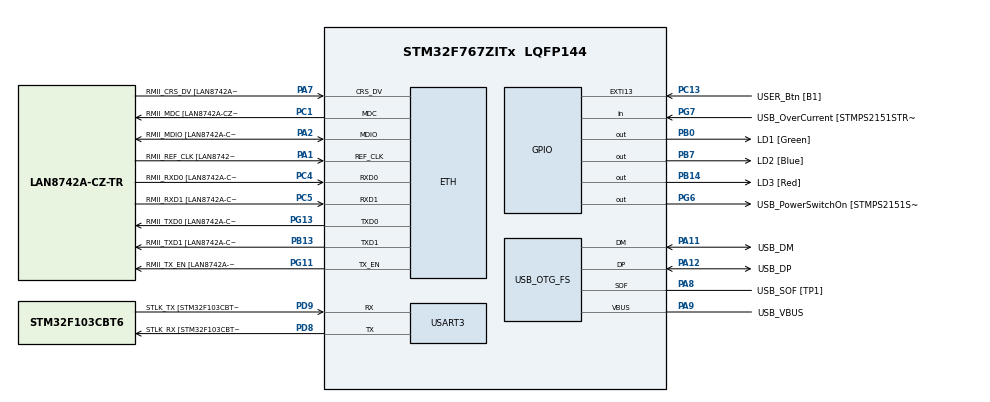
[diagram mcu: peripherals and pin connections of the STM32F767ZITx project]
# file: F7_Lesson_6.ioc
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ETH.MediaInterface=HAL_ETH_RMII_MODE
ETH.PHY_Name=LAN8742A_PHY_ADDRESS
ETH.PHY_Value=0
ETH.PhyAddress=0
Mcu.Family=STM32F7
Mcu.Name=STM32F767ZITx
Mcu.Package=LQFP144
NVIC.PriorityGroup=NVIC_PRIORITYGROUP_4
PA1.GPIO_Label=RMII_REF_CLK [LAN8742A-CZ-TR_REFCLK0]
PA1.Mode=RMII
PA1.Signal=ETH_REF_CLK
PA10.GPIO_Label=USB_ID
PA10.Signal=USB_OTG_FS_ID
PA11.GPIO_Label=USB_DM
PA11.Mode=Device_Only
PA11.Signal=USB_OTG_FS_DM
PA12.GPIO_Label=USB_DP
PA12.Mode=Device_Only
PA12.Signal=USB_OTG_FS_DP
PA13.GPIO_Label=TMS
PA13.Mode=Serial_Wire
PA13.Signal=SYS_JTMS-SWDIO
PA14.GPIO_Label=TCK
PA14.Mode=Serial_Wire
PA14.Signal=SYS_JTCK-SWCLK
PA2.GPIO_Label=RMII_MDIO [LAN8742A-CZ-TR_MDIO]
PA2.Mode=RMII
PA2.Signal=ETH_MDIO
PA7.GPIO_Label=RMII_CRS_DV [LAN8742A-CZ-TR_CRS_DV]
PA7.Mode=RMII
PA7.Signal=ETH_CRS_DV
PA8.GPIO_Label=USB_SOF [TP1]
PA8.Mode=Activate_SOF_FS
PA8.Signal=USB_OTG_FS_SOF
PA9.GPIO_Label=USB_VBUS
PA9.Mode=Activate_VBUS
PA9.Signal=USB_OTG_FS_VBUS
PB0.GPIO_Label=LD1 [Green]
PB0.Signal=GPIO_Output
PB13.GPIO_Label=RMII_TXD1 [LAN8742A-CZ-TR_TXD1]
PB13.Mode=RMII
PB13.Signal=ETH_TXD1
PB14.GPIO_Label=LD3 [Red]
PB14.Signal=GPIO_Output
PB3.GPIO_Label=SWO
PB3.Signal=SYS_JTDO-SWO
PB7.GPIO_Label=LD2 [Blue]
PB7.Signal=GPIO_Output
PC1.GPIO_Label=RMII_MDC [LAN8742A-CZ-TR_MDC]
PC1.Mode=RMII
PC1.Signal=ETH_MDC
PC13.GPIO_Label=USER_Btn [B1]
PC13.Signal=GPXTI13
PC14/OSC32_IN.Mode=LSE-External-Oscillator
PC14/OSC32_IN.Signal=RCC_OSC32_IN
PC15/OSC32_OUT.Mode=LSE-External-Oscillator
PC15/OSC32_OUT.Signal=RCC_OSC32_OUT
PC4.GPIO_Label=RMII_RXD0 [LAN8742A-CZ-TR_RXD0]
PC4.Mode=RMII
PC4.Signal=ETH_RXD0
PC5.GPIO_Label=RMII_RXD1 [LAN8742A-CZ-TR_RXD1]
PC5.Mode=RMII
PC5.Signal=ETH_RXD1
PD8.GPIO_Label=STLK_RX [STM32F103CBT6_PA3]
PD8.Mode=Asynchronous
PD8.Signal=USART3_TX
PD9.GPIO_Label=STLK_TX [STM32F103CBT6_PA2]
PD9.Mode=Asynchronous
PD9.Signal=USART3_RX
PG11.GPIO_Label=RMII_TX_EN [LAN8742A-CZ-TR_TXEN]
PG11.Mode=RMII
PG11.Signal=ETH_TX_EN
PG13.GPIO_Label=RMII_TXD0 [LAN8742A-CZ-TR_TXD0]
PG13.Mode=RMII
PG13.Signal=ETH_TXD0
PG6.GPIO_Label=USB_PowerSwitchOn [STMPS2151STR_EN]
PG6.Signal=GPIO_Output
PG7.GPIO_Label=USB_OverCurrent [STMPS2151STR_FAULT]
PG7.Signal=GPIO_Input
PH0/OSC_IN.GPIO_Label=MCO [STM32F103CBT6_PA8]
PH0/OSC_IN.Mode=HSE-External-Clock-Source
PH0/OSC_IN.Signal=RCC_OSC_IN
PH1/OSC_OUT.Mode=HSE-External-Clock-Source
PH1/OSC_OUT.Signal=RCC_OSC_OUT
ProjectManager.HeapSize=0x200
ProjectManager.StackSize=0x400
ProjectManager.TargetToolchain=STM32CubeIDE
RCC.48MHZClocksFreq_Value=24000000
RCC.AHBFreq_Value=96000000
RCC.APB1CLKDivider=RCC_HCLK_DIV2
RCC.APB1Freq_Value=48000000
RCC.APB1TimFreq_Value=96000000
RCC.APB2Freq_Value=96000000
RCC.APB2TimFreq_Value=96000000
RCC.CortexFreq_Value=96000000
RCC.HCLKFreq_Value=96000000
RCC.HSE_VALUE=8000000
RCC.HSI_VALUE=16000000
RCC.PLLM=4
RCC.PLLMUL=RCC_PLL_MUL9
RCC.PLLN=96
RCC.PLLQ=4
RCC.PRESCALERUSB=RCC_USBCLKSOURCE_PLL_DIV1_5
RCC.SYSCLKFreq_VALUE=96000000
RCC.SYSCLKSource=RCC_SYSCLKSOURCE_PLLCLK
RCC.SYSCLKSourceVirtual=RCC_SYSCLKSOURCE_PLLCLK
RCC.USBFreq_Value=48000000
RCC.VCOOutputFreq_Value=192000000
USART3.VirtualMode-Asynchronous=VM_ASYNC
USB_OTG_FS.VirtualMode=Device_Only
board=NUCLEO-F767ZI

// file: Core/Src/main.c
/* USER CODE BEGIN Header */
/**
  ******************************************************************************
  * @file           : main.c
  * @brief          : Main program body
  ******************************************************************************
  * @attention
  *
  * Copyright (c) 2025 STMicroelectronics.
  * All rights reserved.
  *
  * This software is licensed under terms that can be found in the LICENSE file
  * in the root directory of this software component.
  * If no LICENSE file comes with this software, it is provided AS-IS.
  *
  ******************************************************************************
  */
/* USER CODE END Header */
#include "main.h"
#include "string.h"

/* USER CODE BEGIN PD */

#define MY_GPIOB_BASE 0x40020400U
#define MY_GPIOB_ODR (*((unsigned int*)(MY_GPIOB_BASE + 0x14U)))
#define MY_GPIOB_BSRR (*((unsigned int*)(MY_GPIOB_BASE + 0x18U)))
#define MY_LED_BLUE (1U << 7)
#define MY_LED_RED (1U << 14)

/* USER CODE END PD */

#if defined ( __ICCARM__ ) /*!< IAR Compiler */
#pragma location=0x2007c000
ETH_DMADescTypeDef  DMARxDscrTab[ETH_RX_DESC_CNT]; /* Ethernet Rx DMA Descriptors */
#pragma location=0x2007c0a0
ETH_DMADescTypeDef  DMATxDscrTab[ETH_TX_DESC_CNT]; /* Ethernet Tx DMA Descriptors */

#elif defined ( __CC_ARM )  /* MDK ARM Compiler */

__attribute__((at(0x2007c000))) ETH_DMADescTypeDef  DMARxDscrTab[ETH_RX_DESC_CNT]; /* Ethernet Rx DMA Descriptors */
__attribute__((at(0x2007c0a0))) ETH_DMADescTypeDef  DMATxDscrTab[ETH_TX_DESC_CNT]; /* Ethernet Tx DMA Descriptors */

#elif defined ( __GNUC__ ) /* GNU Compiler */

ETH_DMADescTypeDef DMARxDscrTab[ETH_RX_DESC_CNT] __attribute__((section(".RxDecripSection"))); /* Ethernet Rx DMA Descriptors */
ETH_DMADescTypeDef DMATxDscrTab[ETH_TX_DESC_CNT] __attribute__((section(".TxDecripSection")));   /* Ethernet Tx DMA Descriptors */
#endif

ETH_TxPacketConfig TxConfig;

ETH_HandleTypeDef heth;

PCD_HandleTypeDef hpcd_USB_OTG_FS;

void SystemClock_Config(void);
static void MX_GPIO_Init(void);
static void MX_ETH_Init(void);
static void MX_USART3_UART_Init(void);
static void MX_USB_OTG_FS_PCD_Init(void);

int main(void)
{

  /* MCU Configuration--------------------------------------------------------*/

  /* Reset of all peripherals, Initializes the Flash interface and the Systick. */
  HAL_Init();

  /* Configure the system clock */
  SystemClock_Config();

  /* Initialize all configured peripherals */
  MX_GPIO_Init();
  MX_ETH_Init();
  MX_USART3_UART_Init();
  MX_USB_OTG_FS_PCD_Init();

  /* Infinite loop */
  /* USER CODE BEGIN WHILE */

  unsigned int a = 0x5A5A5A5AU;
  unsigned int b = 0xDEADBEEFU;
  unsigned int c;

  c = a | b; // OR
  c = a & b; // AND
  c = a ^ b; // exclusive OR
  c = ~b; // NOT
  c = b >> 1; // right-shift
  c = b << 3; // left-shift

  int x = 1024;
  int y = -1024;
  int z;

  z = x >> 3;
  z = y >> 3;

  MY_GPIOB_ODR = MY_LED_BLUE; // turn the blue led on

  /*
   * Prevents the compiler from applying
   * optimize most (-O3) to counter
   */
  int volatile counter = 0;

  while (1) {

      /*
       * Turn the red led on
       * without modifying the state of the modify the blue led
       */
      MY_GPIOB_ODR |= MY_LED_RED;

      counter = 0;
      while (counter < 1000000) {
          ++counter;
      }

      /*
       * Turn the red led off
       * without modifying the state of the modify the blue led
       */

      MY_GPIOB_ODR &= ~MY_LED_RED;

      counter = 0;
      while (counter < 1000000) {
          ++counter;
      }

  }

  while (1)
  {

    /* USER CODE END WHILE */

  }
}

void SystemClock_Config(void)
{
  LL_FLASH_SetLatency(LL_FLASH_LATENCY_3);
  while(LL_FLASH_GetLatency()!= LL_FLASH_LATENCY_3)
  {
  }
  LL_PWR_SetRegulVoltageScaling(LL_PWR_REGU_VOLTAGE_SCALE3);
  LL_PWR_EnableOverDriveMode();
  LL_RCC_HSE_EnableBypass();
  LL_RCC_HSE_Enable();

   /* Wait till HSE is ready */
  while(LL_RCC_HSE_IsReady() != 1)
  {

  }
  LL_RCC_PLL_ConfigDomain_SYS(LL_RCC_PLLSOURCE_HSE, LL_RCC_PLLM_DIV_4, 96, LL_RCC_PLLP_DIV_2);
  LL_RCC_PLL_ConfigDomain_48M(LL_RCC_PLLSOURCE_HSE, LL_RCC_PLLM_DIV_4, 96, LL_RCC_PLLQ_DIV_4);
  LL_RCC_PLL_Enable();

   /* Wait till PLL is ready */
  while(LL_RCC_PLL_IsReady() != 1)
  {

  }
  while (LL_PWR_IsActiveFlag_VOS() == 0)
  {
  }
  LL_RCC_SetAHBPrescaler(LL_RCC_SYSCLK_DIV_1);
  LL_RCC_SetAPB1Prescaler(LL_RCC_APB1_DIV_2);
  LL_RCC_SetAPB2Prescaler(LL_RCC_APB2_DIV_1);
  LL_RCC_SetSysClkSource(LL_RCC_SYS_CLKSOURCE_PLL);

   /* Wait till System clock is ready */
  while(LL_RCC_GetSysClkSource() != LL_RCC_SYS_CLKSOURCE_STATUS_PLL)
  {

  }
  LL_SetSystemCoreClock(96000000);

   /* Update the time base */
  if (HAL_InitTick (TICK_INT_PRIORITY) != HAL_OK)
  {
    Error_Handler();
  }

   /* Set Timers Clock Prescalers */
  LL_RCC_SetTIMPrescaler(LL_RCC_TIM_PRESCALER_TWICE);
}

static void MX_ETH_Init(void)
{

   static uint8_t MACAddr[6];

  heth.Instance = ETH;
  MACAddr[0] = 0x00;
  MACAddr[1] = 0x80;
  MACAddr[2] = 0xE1;
  MACAddr[3] = 0x00;
  MACAddr[4] = 0x00;
  MACAddr[5] = 0x00;
  heth.Init.MACAddr = &MACAddr[0];
  heth.Init.MediaInterface = HAL_ETH_RMII_MODE;
  heth.Init.TxDesc = DMATxDscrTab;
  heth.Init.RxDesc = DMARxDscrTab;
  heth.Init.RxBuffLen = 1524;

  if (HAL_ETH_Init(&heth) != HAL_OK)
  {
    Error_Handler();
  }

  memset(&TxConfig, 0 , sizeof(ETH_TxPacketConfig));
  TxConfig.Attributes = ETH_TX_PACKETS_FEATURES_CSUM | ETH_TX_PACKETS_FEATURES_CRCPAD;
  TxConfig.ChecksumCtrl = ETH_CHECKSUM_IPHDR_PAYLOAD_INSERT_PHDR_CALC;
  TxConfig.CRCPadCtrl = ETH_CRC_PAD_INSERT;

}

static void MX_USART3_UART_Init(void)
{

  LL_USART_InitTypeDef USART_InitStruct = {0};

  LL_GPIO_InitTypeDef GPIO_InitStruct = {0};

  LL_RCC_SetUSARTClockSource(LL_RCC_USART3_CLKSOURCE_PCLK1);

  /* Peripheral clock enable */
  LL_APB1_GRP1_EnableClock(LL_APB1_GRP1_PERIPH_USART3);

  LL_AHB1_GRP1_EnableClock(LL_AHB1_GRP1_PERIPH_GPIOD);
  /**USART3 GPIO Configuration
  PD8   ------> USART3_TX
  PD9   ------> USART3_RX
  */
  GPIO_InitStruct.Pin = STLK_RX_Pin;
  GPIO_InitStruct.Mode = LL_GPIO_MODE_ALTERNATE;
  GPIO_InitStruct.Speed = LL_GPIO_SPEED_FREQ_VERY_HIGH;
  GPIO_InitStruct.OutputType = LL_GPIO_OUTPUT_PUSHPULL;
  GPIO_InitStruct.Pull = LL_GPIO_PULL_NO;
  GPIO_InitStruct.Alternate = LL_GPIO_AF_7;
  LL_GPIO_Init(STLK_RX_GPIO_Port, &GPIO_InitStruct);

  GPIO_InitStruct.Pin = STLK_TX_Pin;
  GPIO_InitStruct.Mode = LL_GPIO_MODE_ALTERNATE;
  GPIO_InitStruct.Speed = LL_GPIO_SPEED_FREQ_VERY_HIGH;
  GPIO_InitStruct.OutputType = LL_GPIO_OUTPUT_PUSHPULL;
  GPIO_InitStruct.Pull = LL_GPIO_PULL_NO;
  GPIO_InitStruct.Alternate = LL_GPIO_AF_7;
  LL_GPIO_Init(STLK_TX_GPIO_Port, &GPIO_InitStruct);

  USART_InitStruct.BaudRate = 115200;
  USART_InitStruct.DataWidth = LL_USART_DATAWIDTH_8B;
  USART_InitStruct.StopBits = LL_USART_STOPBITS_1;
  USART_InitStruct.Parity = LL_USART_PARITY_NONE;
  USART_InitStruct.TransferDirection = LL_USART_DIRECTION_TX_RX;
  USART_InitStruct.HardwareFlowControl = LL_USART_HWCONTROL_NONE;
  USART_InitStruct.OverSampling = LL_USART_OVERSAMPLING_16;
  LL_USART_Init(USART3, &USART_InitStruct);
  LL_USART_ConfigAsyncMode(USART3);
  LL_USART_Enable(USART3);

}

static void MX_USB_OTG_FS_PCD_Init(void)
{

  hpcd_USB_OTG_FS.Instance = USB_OTG_FS;
  hpcd_USB_OTG_FS.Init.dev_endpoints = 6;
  hpcd_USB_OTG_FS.Init.speed = PCD_SPEED_FULL;
  hpcd_USB_OTG_FS.Init.dma_enable = DISABLE;
  hpcd_USB_OTG_FS.Init.phy_itface = PCD_PHY_EMBEDDED;
  hpcd_USB_OTG_FS.Init.Sof_enable = ENABLE;
  hpcd_USB_OTG_FS.Init.low_power_enable = DISABLE;
  hpcd_USB_OTG_FS.Init.lpm_enable = DISABLE;
  hpcd_USB_OTG_FS.Init.vbus_sensing_enable = ENABLE;
  hpcd_USB_OTG_FS.Init.use_dedicated_ep1 = DISABLE;
  if (HAL_PCD_Init(&hpcd_USB_OTG_FS) != HAL_OK)
  {
    Error_Handler();
  }

}

static void MX_GPIO_Init(void)
{
  LL_EXTI_InitTypeDef EXTI_InitStruct = {0};
  LL_GPIO_InitTypeDef GPIO_InitStruct = {0};

  /* GPIO Ports Clock Enable */
  LL_AHB1_GRP1_EnableClock(LL_AHB1_GRP1_PERIPH_GPIOC);
  LL_AHB1_GRP1_EnableClock(LL_AHB1_GRP1_PERIPH_GPIOH);
  LL_AHB1_GRP1_EnableClock(LL_AHB1_GRP1_PERIPH_GPIOA);
  LL_AHB1_GRP1_EnableClock(LL_AHB1_GRP1_PERIPH_GPIOB);
  LL_AHB1_GRP1_EnableClock(LL_AHB1_GRP1_PERIPH_GPIOD);
  LL_AHB1_GRP1_EnableClock(LL_AHB1_GRP1_PERIPH_GPIOG);

  /**/
  LL_GPIO_ResetOutputPin(LD1_GPIO_Port, LD1_Pin);

  /**/
  LL_GPIO_ResetOutputPin(LD3_GPIO_Port, LD3_Pin);

  /**/
  LL_GPIO_ResetOutputPin(USB_PowerSwitchOn_GPIO_Port, USB_PowerSwitchOn_Pin);

  /**/
  LL_GPIO_ResetOutputPin(LD2_GPIO_Port, LD2_Pin);

  /**/
  LL_SYSCFG_SetEXTISource(LL_SYSCFG_EXTI_PORTC, LL_SYSCFG_EXTI_LINE13);

  /**/
  EXTI_InitStruct.Line_0_31 = LL_EXTI_LINE_13;
  EXTI_InitStruct.LineCommand = ENABLE;
  EXTI_InitStruct.Mode = LL_EXTI_MODE_IT;
  EXTI_InitStruct.Trigger = LL_EXTI_TRIGGER_RISING;
  LL_EXTI_Init(&EXTI_InitStruct);

  /**/
  LL_GPIO_SetPinPull(USER_Btn_GPIO_Port, USER_Btn_Pin, LL_GPIO_PULL_NO);

  /**/
  LL_GPIO_SetPinMode(USER_Btn_GPIO_Port, USER_Btn_Pin, LL_GPIO_MODE_INPUT);

  /**/
  GPIO_InitStruct.Pin = LD1_Pin;
  GPIO_InitStruct.Mode = LL_GPIO_MODE_OUTPUT;
  GPIO_InitStruct.Speed = LL_GPIO_SPEED_FREQ_LOW;
  GPIO_InitStruct.OutputType = LL_GPIO_OUTPUT_PUSHPULL;
  GPIO_InitStruct.Pull = LL_GPIO_PULL_NO;
  LL_GPIO_Init(LD1_GPIO_Port, &GPIO_InitStruct);

  /**/
  GPIO_InitStruct.Pin = LD3_Pin;
  GPIO_InitStruct.Mode = LL_GPIO_MODE_OUTPUT;
  GPIO_InitStruct.Speed = LL_GPIO_SPEED_FREQ_LOW;
  GPIO_InitStruct.OutputType = LL_GPIO_OUTPUT_PUSHPULL;
  GPIO_InitStruct.Pull = LL_GPIO_PULL_NO;
  LL_GPIO_Init(LD3_GPIO_Port, &GPIO_InitStruct);

  /**/
  GPIO_InitStruct.Pin = USB_PowerSwitchOn_Pin;
  GPIO_InitStruct.Mode = LL_GPIO_MODE_OUTPUT;
  GPIO_InitStruct.Speed = LL_GPIO_SPEED_FREQ_LOW;
  GPIO_InitStruct.OutputType = LL_GPIO_OUTPUT_PUSHPULL;
  GPIO_InitStruct.Pull = LL_GPIO_PULL_NO;
  LL_GPIO_Init(USB_PowerSwitchOn_GPIO_Port, &GPIO_InitStruct);

  /**/
  GPIO_InitStruct.Pin = USB_OverCurrent_Pin;
  GPIO_InitStruct.Mode = LL_GPIO_MODE_INPUT;
  GPIO_InitStruct.Pull = LL_GPIO_PULL_NO;
  LL_GPIO_Init(USB_OverCurrent_GPIO_Port, &GPIO_InitStruct);

  /**/
  GPIO_InitStruct.Pin = LD2_Pin;
  GPIO_InitStruct.Mode = LL_GPIO_MODE_OUTPUT;
  GPIO_InitStruct.Speed = LL_GPIO_SPEED_FREQ_LOW;
  GPIO_InitStruct.OutputType = LL_GPIO_OUTPUT_PUSHPULL;
  GPIO_InitStruct.Pull = LL_GPIO_PULL_NO;
  LL_GPIO_Init(LD2_GPIO_Port, &GPIO_InitStruct);

}

void Error_Handler(void)
{
  __disable_irq();
  while (1)
  {
  }
}
